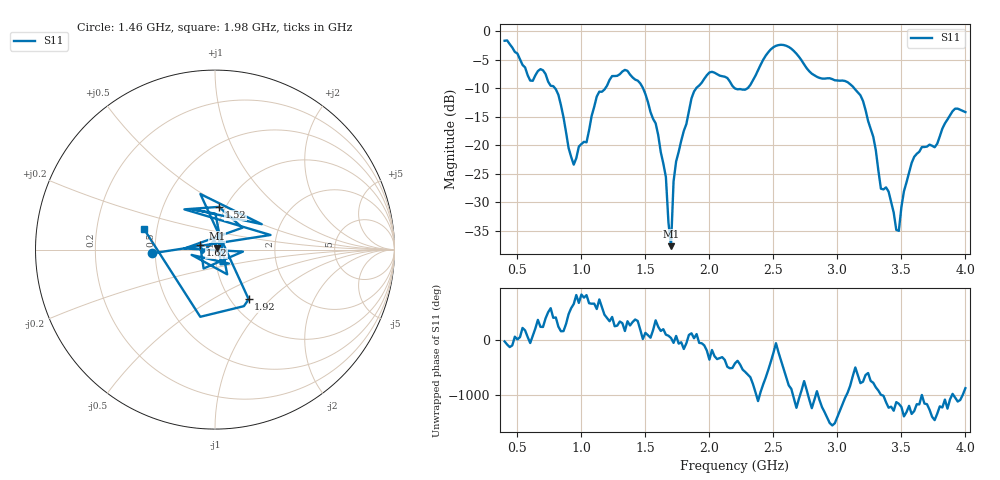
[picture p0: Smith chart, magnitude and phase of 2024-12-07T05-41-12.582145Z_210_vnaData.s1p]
!Created with skrf (http://scikit-rf.org).
# Hz S RI R 50.0
!freq ReS11 ImS11
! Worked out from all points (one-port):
!   181 points, 400 MHz to 4 GHz, reference 50 ohm
!   lowest |S11| = -37.7 dB at 1.7 GHz (marker M1), VSWR 1.03, Z = 51.1 + j0.744 ohm
!   |S11| at or under -10 dB: 794.1 MHz to 1.186 GHz (392.3 MHz wide, 39.6 % of centre); 1.482 GHz to 1.897 GHz (415.1 MHz wide, 24.6 % of centre); 3.132 GHz to end of sweep (the widest 3 of 4)
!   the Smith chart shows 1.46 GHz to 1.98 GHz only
!   S11 on the Smith chart (normalised r, x): 1.46 GHz: 0.48, -0.02; 1.52 GHz: 0.93, +0.47; 1.62 GHz: 0.85, +0.05; 1.92 GHz: 1.21, -0.75; 1.98 GHz: 0.42, +0.12
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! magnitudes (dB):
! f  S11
! 400 MHz  -1.7
! 600 MHz  -8.6
! 700 MHz  -6.8
! 860 MHz  -15.1
! 940 MHz  -23.4
! 1.04 GHz  -19.5
! 1.12 GHz  -11.4
! 1.3 GHz  -7.5
! 1.46 GHz  -9.1
! 1.52 GHz  -12.4
! 1.62 GHz  -21.2
! 1.66 GHz  -25.6
! 1.7 GHz  -37.7
! 1.72 GHz  -26.3
! 1.76 GHz  -21.1
! 1.92 GHz  -9.5
! 1.98 GHz  -7.7
! 2.2 GHz  -10.0
! 2.5 GHz  -2.8
! 2.66 GHz  -3.5
! 3.1 GHz  -9.3
! 3.2 GHz  -12.2
! 3.34 GHz  -27.6
! 3.4 GHz  -28.1
! 3.46 GHz  -34.8
! 3.56 GHz  -24.8
! 3.9 GHz  -14.0
! 4 GHz  -14.2
